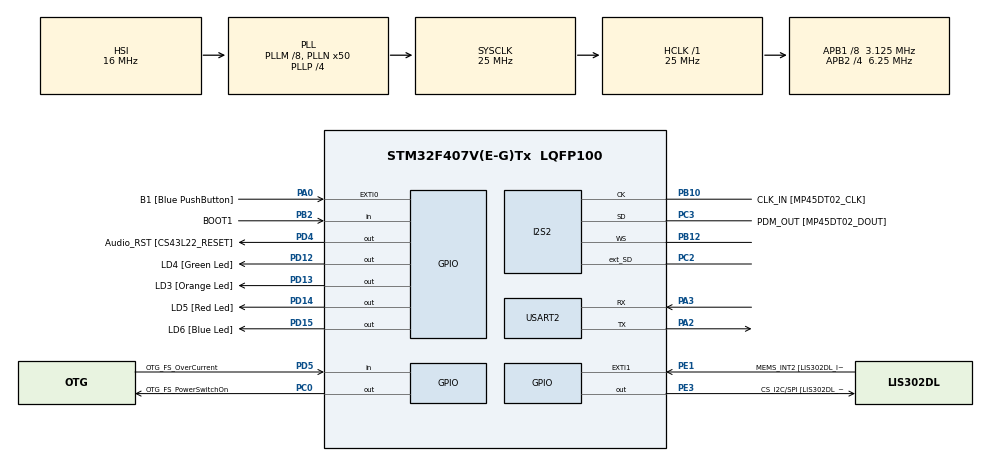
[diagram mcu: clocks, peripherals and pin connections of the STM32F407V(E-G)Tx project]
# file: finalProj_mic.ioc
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I2S2.ErrorAudioFreq=0.8 %
I2S2.FullDuplexMode=I2S_FULLDUPLEXMODE_ENABLE
I2S2.RealAudioFreq=193.548 KHz
Mcu.Family=STM32F4
Mcu.Name=STM32F407V(E-G)Tx
Mcu.Package=LQFP100
NVIC.PriorityGroup=NVIC_PRIORITYGROUP_0
PA0-WKUP.GPIO_Label=B1 [Blue PushButton]
PA0-WKUP.GPIO_ModeDefaultEXTI=GPIO_MODE_EVT_RISING
PA0-WKUP.GPIO_PuPd=GPIO_NOPULL
PA0-WKUP.Signal=GPXTI0
PA10.GPIO_Label=OTG_FS_ID
PA10.GPIO_Mode=GPIO_MODE_AF_PP
PA10.GPIO_PuPd=GPIO_NOPULL
PA10.GPIO_Speed=GPIO_SPEED_FREQ_LOW
PA10.Signal=USB_OTG_FS_ID
PA11.GPIO_Label=OTG_FS_DM
PA11.GPIO_Mode=GPIO_MODE_AF_PP
PA11.GPIO_PuPd=GPIO_NOPULL
PA11.GPIO_Speed=GPIO_SPEED_FREQ_LOW
PA11.Signal=USB_OTG_FS_DM
PA12.GPIO_Label=OTG_FS_DP
PA12.GPIO_Mode=GPIO_MODE_AF_PP
PA12.GPIO_PuPd=GPIO_NOPULL
PA12.GPIO_Speed=GPIO_SPEED_FREQ_LOW
PA12.Signal=USB_OTG_FS_DP
PA13.GPIO_Label=SWDIO
PA13.Signal=SYS_JTMS-SWDIO
PA14.GPIO_Label=SWCLK
PA14.Signal=SYS_JTCK-SWCLK
PA2.Mode=Asynchronous
PA2.Signal=USART2_TX
PA3.Mode=Asynchronous
PA3.Signal=USART2_RX
PA4.GPIO_Label=I2S3_WS [CS43L22_LRCK]
PA4.GPIO_Mode=GPIO_MODE_AF_PP
PA4.GPIO_PuPd=GPIO_NOPULL
PA4.GPIO_Speed=GPIO_SPEED_FREQ_LOW
PA4.Signal=I2S3_WS
PA5.GPIO_Label=SPI1_SCK [LIS302DL_SCL/SPC]
PA5.GPIO_Mode=GPIO_MODE_AF_PP
PA5.GPIO_PuPd=GPIO_NOPULL
PA5.GPIO_Speed=GPIO_SPEED_FREQ_LOW
PA5.Signal=SPI1_SCK
PA6.GPIO_Label=SPI1_MISO [LIS302DL_SDO]
PA6.GPIO_Mode=GPIO_MODE_AF_PP
PA6.GPIO_PuPd=GPIO_NOPULL
PA6.GPIO_Speed=GPIO_SPEED_FREQ_LOW
PA6.Signal=SPI1_MISO
PA7.GPIO_Label=SPI1_MOSI [LIS302DL_SDA/SDI/SDO]
PA7.GPIO_Mode=GPIO_MODE_AF_PP
PA7.GPIO_PuPd=GPIO_NOPULL
PA7.GPIO_Speed=GPIO_SPEED_FREQ_LOW
PA7.Signal=SPI1_MOSI
PA9.GPIO_Label=VBUS_FS
PA9.GPIO_Mode=GPIO_MODE_INPUT
PA9.GPIO_PuPd=GPIO_NOPULL
PA9.Signal=USB_OTG_FS_VBUS
PB10.GPIO_Label=CLK_IN [MP45DT02_CLK]
PB10.GPIO_Mode=GPIO_MODE_AF_PP
PB10.GPIO_PuPd=GPIO_NOPULL
PB10.GPIO_Speed=GPIO_SPEED_FREQ_LOW
PB10.Mode=Full_Duplex_Master
PB10.Signal=I2S2_CK
PB12.Mode=Full_Duplex_Master
PB12.Signal=I2S2_WS
PB2.GPIO_Label=BOOT1
PB2.GPIO_Mode=GPIO_MODE_INPUT
PB2.GPIO_PuPd=GPIO_NOPULL
PB2.Signal=GPIO_Input
PB3.GPIO_Label=SWO
PB3.Signal=SYS_JTDO-SWO
PB6.GPIO_Label=Audio_SCL [CS43L22_SCL]
PB6.GPIO_Mode=GPIO_MODE_AF_OD
PB6.GPIO_PuPd=GPIO_NOPULL
PB6.GPIO_Speed=GPIO_SPEED_FREQ_LOW
PB6.Signal=I2C1_SCL
PB9.GPIO_Label=Audio_SDA [CS43L22_SDA]
PB9.GPIO_Mode=GPIO_MODE_AF_OD
PB9.GPIO_PuPd=GPIO_NOPULL
PB9.GPIO_Speed=GPIO_SPEED_FREQ_LOW
PB9.Signal=I2C1_SDA
PC0.GPIO_Label=OTG_FS_PowerSwitchOn
PC0.GPIO_PuPd=GPIO_NOPULL
PC0.GPIO_Speed=GPIO_SPEED_FREQ_LOW
PC0.PinState=GPIO_PIN_SET
PC0.Signal=GPIO_Output
PC10.GPIO_Label=I2S3_SCK [CS43L22_SCLK]
PC10.GPIO_Mode=GPIO_MODE_AF_PP
PC10.GPIO_PuPd=GPIO_NOPULL
PC10.GPIO_Speed=GPIO_SPEED_FREQ_LOW
PC10.Signal=I2S3_CK
PC12.GPIO_Label=I2S3_SD [CS43L22_SDIN]
PC12.GPIO_Mode=GPIO_MODE_AF_PP
PC12.GPIO_PuPd=GPIO_NOPULL
PC12.GPIO_Speed=GPIO_SPEED_FREQ_LOW
PC12.Signal=I2S3_SD
PC14-OSC32_IN.GPIO_Label=PC14-OSC32_IN
PC14-OSC32_IN.Signal=RCC_OSC32_IN
PC15-OSC32_OUT.GPIO_Label=PC15-OSC32_OUT
PC15-OSC32_OUT.Signal=RCC_OSC32_OUT
PC2.Mode=Full_Duplex_Master
PC2.Signal=I2S2_ext_SD
PC3.GPIO_Label=PDM_OUT [MP45DT02_DOUT]
PC3.GPIO_Mode=GPIO_MODE_AF_PP
PC3.GPIO_PuPd=GPIO_NOPULL
PC3.GPIO_Speed=GPIO_SPEED_FREQ_LOW
PC3.Mode=Full_Duplex_Master
PC3.Signal=I2S2_SD
PC7.GPIO_Label=I2S3_MCK [CS43L22_MCLK]
PC7.GPIO_Mode=GPIO_MODE_AF_PP
PC7.GPIO_PuPd=GPIO_NOPULL
PC7.GPIO_Speed=GPIO_SPEED_FREQ_LOW
PC7.Signal=I2S3_MCK
PD12.GPIO_Label=LD4 [Green Led]
PD12.GPIO_PuPd=GPIO_NOPULL
PD12.GPIO_Speed=GPIO_SPEED_FREQ_LOW
PD12.Signal=GPIO_Output
PD13.GPIO_Label=LD3 [Orange Led]
PD13.GPIO_PuPd=GPIO_NOPULL
PD13.GPIO_Speed=GPIO_SPEED_FREQ_LOW
PD13.Signal=GPIO_Output
PD14.GPIO_Label=LD5 [Red Led]
PD14.GPIO_PuPd=GPIO_NOPULL
PD14.GPIO_Speed=GPIO_SPEED_FREQ_LOW
PD14.Signal=GPIO_Output
PD15.GPIO_Label=LD6 [Blue Led]
PD15.GPIO_PuPd=GPIO_NOPULL
PD15.GPIO_Speed=GPIO_SPEED_FREQ_LOW
PD15.Signal=GPIO_Output
PD4.GPIO_Label=Audio_RST [CS43L22_RESET]
PD4.GPIO_PuPd=GPIO_NOPULL
PD4.GPIO_Speed=GPIO_SPEED_FREQ_LOW
PD4.Signal=GPIO_Output
PD5.GPIO_Label=OTG_FS_OverCurrent
PD5.GPIO_Mode=GPIO_MODE_INPUT
PD5.GPIO_PuPd=GPIO_NOPULL
PD5.Signal=GPIO_Input
PE1.GPIO_Label=MEMS_INT2 [LIS302DL_INT2]
PE1.GPIO_ModeDefaultEXTI=GPIO_MODE_EVT_RISING
PE1.GPIO_PuPd=GPIO_NOPULL
PE1.Signal=GPXTI1
PE3.GPIO_Label=CS_I2C/SPI [LIS302DL_CS_I2C/SPI]
PE3.GPIO_PuPd=GPIO_NOPULL
PE3.GPIO_Speed=GPIO_SPEED_FREQ_LOW
PE3.Signal=GPIO_Output
PH0-OSC_IN.GPIO_Label=PH0-OSC_IN
PH0-OSC_IN.Signal=RCC_OSC_IN
PH1-OSC_OUT.GPIO_Label=PH1-OSC_OUT
PH1-OSC_OUT.Signal=RCC_OSC_OUT
ProjectManager.HeapSize=0x200
ProjectManager.StackSize=0x400
ProjectManager.TargetToolchain=SW4STM32
RCC.48MHZClocksFreq_Value=14285714.285714285
RCC.AHBFreq_Value=25000000
RCC.APB1CLKDivider=RCC_HCLK_DIV8
RCC.APB1Freq_Value=3125000
RCC.APB1TimFreq_Value=6250000
RCC.APB2CLKDivider=RCC_HCLK_DIV4
RCC.APB2Freq_Value=6250000
RCC.APB2TimFreq_Value=12500000
RCC.CortexFreq_Value=25000000
RCC.HCLKFreq_Value=25000000
RCC.HSE_VALUE=8000000
RCC.HSI_VALUE=16000000
RCC.LSE_VALUE=32768
RCC.PLLM=8
RCC.PLLN=50
RCC.PLLP=RCC_PLLP_DIV4
RCC.PLLQ=7
RCC.SYSCLKFreq_VALUE=25000000
RCC.SYSCLKSource=RCC_SYSCLKSOURCE_PLLCLK
RCC.VCOOutputFreq_Value=100000000
board=STM32F4DISCOVERY

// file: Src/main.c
/**
  ******************************************************************************
  * File Name          : main.c
  * Description        : Main program body
  ******************************************************************************
  *
  * COPYRIGHT(c) 2559 STMicroelectronics
  *
  * Redistribution and use in source and binary forms, with or without modification,
  * are permitted provided that the following conditions are met:
  *   1. Redistributions of source code must retain the above copyright notice,
  *      this list of conditions and the following disclaimer.
  *   2. Redistributions in binary form must reproduce the above copyright notice,
  *      this list of conditions and the following disclaimer in the documentation
  *      and/or other materials provided with the distribution.
  *   3. Neither the name of STMicroelectronics nor the names of its contributors
  *      may be used to endorse or promote products derived from this software
  *      without specific prior written permission.
  *
  * THIS SOFTWARE IS PROVIDED BY THE COPYRIGHT HOLDERS AND CONTRIBUTORS "AS IS"
  * AND ANY EXPRESS OR IMPLIED WARRANTIES, INCLUDING, BUT NOT LIMITED TO, THE
  * IMPLIED WARRANTIES OF MERCHANTABILITY AND FITNESS FOR A PARTICULAR PURPOSE ARE
  * DISCLAIMED. IN NO EVENT SHALL THE COPYRIGHT HOLDER OR CONTRIBUTORS BE LIABLE
  * FOR ANY DIRECT, INDIRECT, INCIDENTAL, SPECIAL, EXEMPLARY, OR CONSEQUENTIAL
  * DAMAGES (INCLUDING, BUT NOT LIMITED TO, PROCUREMENT OF SUBSTITUTE GOODS OR
  * SERVICES; LOSS OF USE, DATA, OR PROFITS; OR BUSINESS INTERRUPTION) HOWEVER
  * CAUSED AND ON ANY THEORY OF LIABILITY, WHETHER IN CONTRACT, STRICT LIABILITY,
  * OR TORT (INCLUDING NEGLIGENCE OR OTHERWISE) ARISING IN ANY WAY OUT OF THE USE
  * OF THIS SOFTWARE, EVEN IF ADVISED OF THE POSSIBILITY OF SUCH DAMAGE.
  *
  ******************************************************************************
  */
#include "stm32f4xx_hal.h"

I2S_HandleTypeDef hi2s2;

UART_HandleTypeDef huart2;

/* USER CODE BEGIN PV */
/* Private variables ---------------------------------------------------------*/

/* USER CODE END PV */

void SystemClock_Config(void);
void Error_Handler(void);
static void MX_GPIO_Init(void);
static void MX_I2S2_Init(void);
static void MX_USART2_UART_Init(void);

/* USER CODE BEGIN PFP */
/* Private function prototypes -----------------------------------------------*/

/* USER CODE END PFP */

int main(void)
{

  /* USER CODE BEGIN 1 */
	uint16_t sound_in[1600];
	int binary[1600],temp[1600];
	int buf[1600];
	int vol = 0,sum = 0;
	char buffer[100];
  /* USER CODE END 1 */

  /* MCU Configuration----------------------------------------------------------*/

  /* Reset of all peripherals, Initializes the Flash interface and the Systick. */
  HAL_Init();

  /* Configure the system clock */
  SystemClock_Config();

  /* Initialize all configured peripherals */
  MX_GPIO_Init();
  MX_I2S2_Init();
  MX_USART2_UART_Init();

  /* USER CODE BEGIN 2 */
  HAL_UART_Transmit(&huart2,"eiei",4,100);
  /* USER CODE END 2 */

  /* Infinite loop */
  while (1){

  /* USER CODE BEGIN 3 */
	  int vol=0;
	  	  HAL_I2S_Receive(&hi2s2,sound_in, 50, 1000);

	  	  for (int i = 0; i < 50; i++) {
	  		for (int j = 0; j < 16; j++) {
	  			binary[j] = sound_in[i] % 2;
	  			sound_in[i] = sound_in[i]/2;
	  		}

	  		//reverse
	  		for (int j = 0; j < 16; j++) {
	  			temp[i * 16 + j] = binary[15 - j];
	  		}
	  	  }
	  	  int i =7;
	  	  while(i + 8 < 50*16){
	  	     int sum = 0;
	  	     for (int j = -7; j <= 8; j++)
	  	      sum += temp[i + j];
	  	     if(sum - 8 < 0)  buf[i]=-(sum-8);
	  	     buf[i] = sum-8;
	  	     i++;
	  	  }

	  	for (int i = 14; i + 16 < 50*16; i++) {
	  		for (int j = -7; j <= 8; j++)
	  			vol += buf[i + j];
	  	}

	  	while (vol > 1000){
	  		HAL_UART_Transmit(&huart2,">",1,100);
	  		vol -= 1000;
	  	}
	  	HAL_UART_Transmit(&huart2,">\r\n",3,100);
//	  	int nac = sprintf(buffer,"vol: %5d\r\n",vol);
//	  	HAL_UART_Transmit(&huart2,buffer,nac,1000);

  /* USER CODE END 3 */
  }
}

/** System Clock Configuration
*/
void SystemClock_Config(void)
{

  RCC_OscInitTypeDef RCC_OscInitStruct;
  RCC_ClkInitTypeDef RCC_ClkInitStruct;
  RCC_PeriphCLKInitTypeDef PeriphClkInitStruct;

  __HAL_RCC_PWR_CLK_ENABLE();

  __HAL_PWR_VOLTAGESCALING_CONFIG(PWR_REGULATOR_VOLTAGE_SCALE1);

  RCC_OscInitStruct.OscillatorType = RCC_OSCILLATORTYPE_HSI;
  RCC_OscInitStruct.HSIState = RCC_HSI_ON;
  RCC_OscInitStruct.HSICalibrationValue = 16;
  RCC_OscInitStruct.PLL.PLLState = RCC_PLL_ON;
  RCC_OscInitStruct.PLL.PLLSource = RCC_PLLSOURCE_HSI;
  RCC_OscInitStruct.PLL.PLLM = 8;
  RCC_OscInitStruct.PLL.PLLN = 50;
  RCC_OscInitStruct.PLL.PLLP = RCC_PLLP_DIV4;
  RCC_OscInitStruct.PLL.PLLQ = 7;
  if (HAL_RCC_OscConfig(&RCC_OscInitStruct) != HAL_OK)
  {
    Error_Handler();
  }

  RCC_ClkInitStruct.ClockType = RCC_CLOCKTYPE_HCLK|RCC_CLOCKTYPE_SYSCLK
                              |RCC_CLOCKTYPE_PCLK1|RCC_CLOCKTYPE_PCLK2;
  RCC_ClkInitStruct.SYSCLKSource = RCC_SYSCLKSOURCE_PLLCLK;
  RCC_ClkInitStruct.AHBCLKDivider = RCC_SYSCLK_DIV1;
  RCC_ClkInitStruct.APB1CLKDivider = RCC_HCLK_DIV8;
  RCC_ClkInitStruct.APB2CLKDivider = RCC_HCLK_DIV4;
  if (HAL_RCC_ClockConfig(&RCC_ClkInitStruct, FLASH_LATENCY_0) != HAL_OK)
  {
    Error_Handler();
  }

  PeriphClkInitStruct.PeriphClockSelection = RCC_PERIPHCLK_I2S;
  PeriphClkInitStruct.PLLI2S.PLLI2SN = 192;
  PeriphClkInitStruct.PLLI2S.PLLI2SR = 2;
  if (HAL_RCCEx_PeriphCLKConfig(&PeriphClkInitStruct) != HAL_OK)
  {
    Error_Handler();
  }

  HAL_SYSTICK_Config(HAL_RCC_GetHCLKFreq()/1000);

  HAL_SYSTICK_CLKSourceConfig(SYSTICK_CLKSOURCE_HCLK);

  /* SysTick_IRQn interrupt configuration */
  HAL_NVIC_SetPriority(SysTick_IRQn, 0, 0);
}

/* I2S2 init function */
static void MX_I2S2_Init(void)
{

  hi2s2.Instance = SPI2;
  hi2s2.Init.Mode = I2S_MODE_MASTER_RX;
  hi2s2.Init.Standard = I2S_STANDARD_PHILIPS;
  hi2s2.Init.DataFormat = I2S_DATAFORMAT_16B;
  hi2s2.Init.MCLKOutput = I2S_MCLKOUTPUT_DISABLE;
  hi2s2.Init.AudioFreq = I2S_AUDIOFREQ_32K;
  hi2s2.Init.CPOL = I2S_CPOL_LOW;
  hi2s2.Init.ClockSource = I2S_CLOCK_PLL;
  hi2s2.Init.FullDuplexMode = I2S_FULLDUPLEXMODE_ENABLE;
  if (HAL_I2S_Init(&hi2s2) != HAL_OK)
  {
    Error_Handler();
  }

}

/* USART2 init function */
static void MX_USART2_UART_Init(void)
{

  huart2.Instance = USART2;
  huart2.Init.BaudRate = 115200;
  huart2.Init.WordLength = UART_WORDLENGTH_8B;
  huart2.Init.StopBits = UART_STOPBITS_1;
  huart2.Init.Parity = UART_PARITY_NONE;
  huart2.Init.Mode = UART_MODE_TX_RX;
  huart2.Init.HwFlowCtl = UART_HWCONTROL_NONE;
  huart2.Init.OverSampling = UART_OVERSAMPLING_16;
  if (HAL_UART_Init(&huart2) != HAL_OK)
  {
    Error_Handler();
  }

}

/** Configure pins as
        * Analog
        * Input
        * Output
        * EVENT_OUT
        * EXTI
     PA4   ------> I2S3_WS
     PA5   ------> SPI1_SCK
     PA6   ------> SPI1_MISO
     PA7   ------> SPI1_MOSI
     PC7   ------> I2S3_MCK
     PA9   ------> USB_OTG_FS_VBUS
     PA10   ------> USB_OTG_FS_ID
     PA11   ------> USB_OTG_FS_DM
     PA12   ------> USB_OTG_FS_DP
     PC10   ------> I2S3_CK
     PC12   ------> I2S3_SD
     PB6   ------> I2C1_SCL
     PB9   ------> I2C1_SDA
*/
static void MX_GPIO_Init(void)
{

  GPIO_InitTypeDef GPIO_InitStruct;

  /* GPIO Ports Clock Enable */
  __HAL_RCC_GPIOE_CLK_ENABLE();
  __HAL_RCC_GPIOC_CLK_ENABLE();
  __HAL_RCC_GPIOH_CLK_ENABLE();
  __HAL_RCC_GPIOA_CLK_ENABLE();
  __HAL_RCC_GPIOB_CLK_ENABLE();
  __HAL_RCC_GPIOD_CLK_ENABLE();

  /*Configure GPIO pin Output Level */
  HAL_GPIO_WritePin(CS_I2C_SPI_GPIO_Port, CS_I2C_SPI_Pin, GPIO_PIN_RESET);

  /*Configure GPIO pin Output Level */
  HAL_GPIO_WritePin(OTG_FS_PowerSwitchOn_GPIO_Port, OTG_FS_PowerSwitchOn_Pin, GPIO_PIN_SET);

  /*Configure GPIO pin Output Level */
  HAL_GPIO_WritePin(GPIOD, LD4_Pin|LD3_Pin|LD5_Pin|LD6_Pin
                          |Audio_RST_Pin, GPIO_PIN_RESET);

  /*Configure GPIO pin : CS_I2C_SPI_Pin */
  GPIO_InitStruct.Pin = CS_I2C_SPI_Pin;
  GPIO_InitStruct.Mode = GPIO_MODE_OUTPUT_PP;
  GPIO_InitStruct.Pull = GPIO_NOPULL;
  GPIO_InitStruct.Speed = GPIO_SPEED_FREQ_LOW;
  HAL_GPIO_Init(CS_I2C_SPI_GPIO_Port, &GPIO_InitStruct);

  /*Configure GPIO pin : OTG_FS_PowerSwitchOn_Pin */
  GPIO_InitStruct.Pin = OTG_FS_PowerSwitchOn_Pin;
  GPIO_InitStruct.Mode = GPIO_MODE_OUTPUT_PP;
  GPIO_InitStruct.Pull = GPIO_NOPULL;
  GPIO_InitStruct.Speed = GPIO_SPEED_FREQ_LOW;
  HAL_GPIO_Init(OTG_FS_PowerSwitchOn_GPIO_Port, &GPIO_InitStruct);

  /*Configure GPIO pin : B1_Pin */
  GPIO_InitStruct.Pin = B1_Pin;
  GPIO_InitStruct.Mode = GPIO_MODE_EVT_RISING;
  GPIO_InitStruct.Pull = GPIO_NOPULL;
  HAL_GPIO_Init(B1_GPIO_Port, &GPIO_InitStruct);

  /*Configure GPIO pin : PA4 */
  GPIO_InitStruct.Pin = GPIO_PIN_4;
  GPIO_InitStruct.Mode = GPIO_MODE_AF_PP;
  GPIO_InitStruct.Pull = GPIO_NOPULL;
  GPIO_InitStruct.Speed = GPIO_SPEED_FREQ_LOW;
  GPIO_InitStruct.Alternate = GPIO_AF6_SPI3;
  HAL_GPIO_Init(GPIOA, &GPIO_InitStruct);

  /*Configure GPIO pins : PA5 PA6 PA7 */
  GPIO_InitStruct.Pin = GPIO_PIN_5|GPIO_PIN_6|GPIO_PIN_7;
  GPIO_InitStruct.Mode = GPIO_MODE_AF_PP;
  GPIO_InitStruct.Pull = GPIO_NOPULL;
  GPIO_InitStruct.Speed = GPIO_SPEED_FREQ_LOW;
  GPIO_InitStruct.Alternate = GPIO_AF5_SPI1;
  HAL_GPIO_Init(GPIOA, &GPIO_InitStruct);

  /*Configure GPIO pin : BOOT1_Pin */
  GPIO_InitStruct.Pin = BOOT1_Pin;
  GPIO_InitStruct.Mode = GPIO_MODE_INPUT;
  GPIO_InitStruct.Pull = GPIO_NOPULL;
  HAL_GPIO_Init(BOOT1_GPIO_Port, &GPIO_InitStruct);

  /*Configure GPIO pins : LD4_Pin LD3_Pin LD5_Pin LD6_Pin
                           Audio_RST_Pin */
  GPIO_InitStruct.Pin = LD4_Pin|LD3_Pin|LD5_Pin|LD6_Pin
                          |Audio_RST_Pin;
  GPIO_InitStruct.Mode = GPIO_MODE_OUTPUT_PP;
  GPIO_InitStruct.Pull = GPIO_NOPULL;
  GPIO_InitStruct.Speed = GPIO_SPEED_FREQ_LOW;
  HAL_GPIO_Init(GPIOD, &GPIO_InitStruct);

  /*Configure GPIO pins : PC7 I2S3_SCK_Pin PC12 */
  GPIO_InitStruct.Pin = GPIO_PIN_7|I2S3_SCK_Pin|GPIO_PIN_12;
  GPIO_InitStruct.Mode = GPIO_MODE_AF_PP;
  GPIO_InitStruct.Pull = GPIO_NOPULL;
  GPIO_InitStruct.Speed = GPIO_SPEED_FREQ_LOW;
  GPIO_InitStruct.Alternate = GPIO_AF6_SPI3;
  HAL_GPIO_Init(GPIOC, &GPIO_InitStruct);

  /*Configure GPIO pin : VBUS_FS_Pin */
  GPIO_InitStruct.Pin = VBUS_FS_Pin;
  GPIO_InitStruct.Mode = GPIO_MODE_INPUT;
  GPIO_InitStruct.Pull = GPIO_NOPULL;
  HAL_GPIO_Init(VBUS_FS_GPIO_Port, &GPIO_InitStruct);

  /*Configure GPIO pins : OTG_FS_ID_Pin OTG_FS_DM_Pin OTG_FS_DP_Pin */
  GPIO_InitStruct.Pin = OTG_FS_ID_Pin|OTG_FS_DM_Pin|OTG_FS_DP_Pin;
  GPIO_InitStruct.Mode = GPIO_MODE_AF_PP;
  GPIO_InitStruct.Pull = GPIO_NOPULL;
  GPIO_InitStruct.Speed = GPIO_SPEED_FREQ_LOW;
  GPIO_InitStruct.Alternate = GPIO_AF10_OTG_FS;
  HAL_GPIO_Init(GPIOA, &GPIO_InitStruct);

  /*Configure GPIO pin : OTG_FS_OverCurrent_Pin */
  GPIO_InitStruct.Pin = OTG_FS_OverCurrent_Pin;
  GPIO_InitStruct.Mode = GPIO_MODE_INPUT;
  GPIO_InitStruct.Pull = GPIO_NOPULL;
  HAL_GPIO_Init(OTG_FS_OverCurrent_GPIO_Port, &GPIO_InitStruct);

  /*Configure GPIO pins : Audio_SCL_Pin Audio_SDA_Pin */
  GPIO_InitStruct.Pin = Audio_SCL_Pin|Audio_SDA_Pin;
  GPIO_InitStruct.Mode = GPIO_MODE_AF_OD;
  GPIO_InitStruct.Pull = GPIO_PULLUP;
  GPIO_InitStruct.Speed = GPIO_SPEED_FREQ_LOW;
  GPIO_InitStruct.Alternate = GPIO_AF4_I2C1;
  HAL_GPIO_Init(GPIOB, &GPIO_InitStruct);

  /*Configure GPIO pin : MEMS_INT2_Pin */
  GPIO_InitStruct.Pin = MEMS_INT2_Pin;
  GPIO_InitStruct.Mode = GPIO_MODE_EVT_RISING;
  GPIO_InitStruct.Pull = GPIO_NOPULL;
  HAL_GPIO_Init(MEMS_INT2_GPIO_Port, &GPIO_InitStruct);

}

void Error_Handler(void)
{
  while(1)
  {
  }
}

/************************ (C) COPYRIGHT STMicroelectronics *****END OF FILE****/
